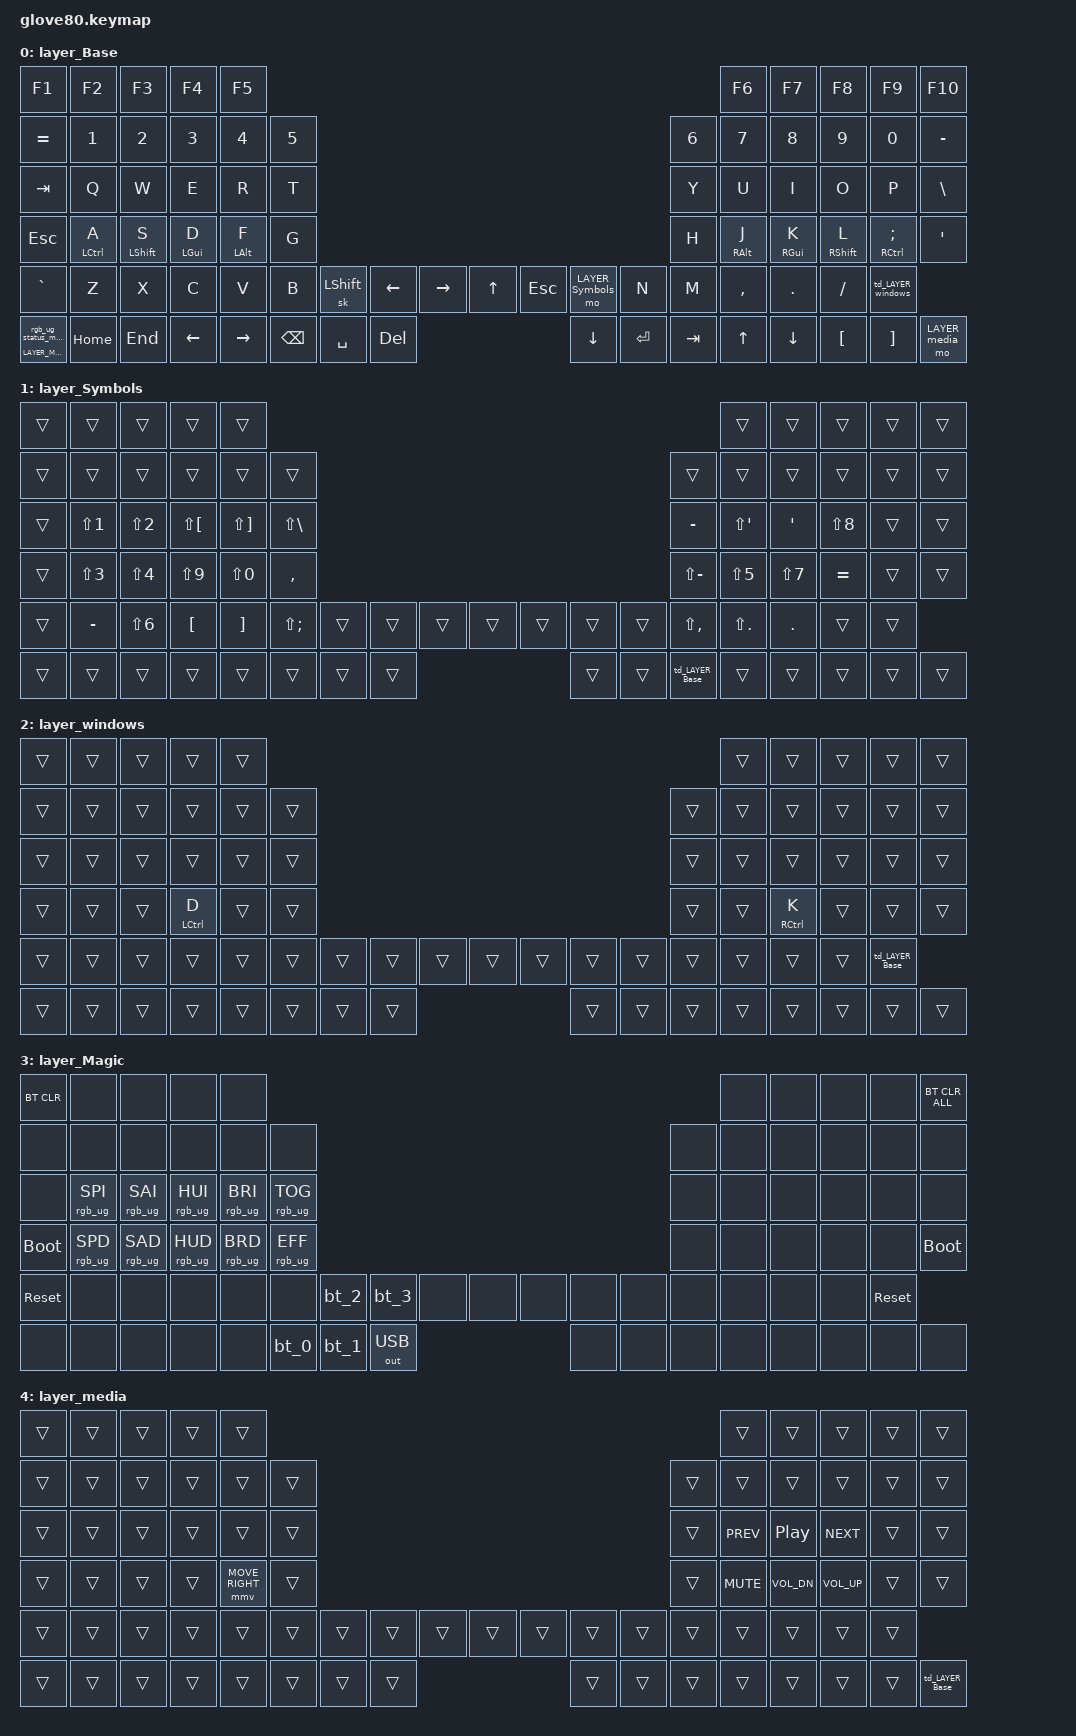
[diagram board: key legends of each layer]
/*
 * Copyright (c) 2020 The ZMK Contributors
 * Copyright (c) 2025 Innaworks Development Limited, trading as MoErgo
 *
 * SPDX-License-Identifier: MIT
 */


/* THIS FILE WAS GENERATED BY GLOVE80 LAYOUT EDITOR
 *
 * This file was generated automatically. You may or may not want to
 * edit it directly.
 */

#include <behaviors.dtsi>
/* Include all behavior includes needed */
#include <dt-bindings/zmk/outputs.h>
#include <dt-bindings/zmk/keys.h>
#include <dt-bindings/zmk/bt.h>
#include <dt-bindings/zmk/rgb.h>
#include <dt-bindings/zmk/rgb_colors.h>

/* On demand includes */
#include <dt-bindings/zmk/pointing.h>

/* Helper Macros, based on https://github.com/urob/zmk-helpers/ */

#pragma once

#define ZMK_HELPER_STRINGIFY(x) #x

// Preprocessor mechanism to overload macros, cf. https://stackoverflow.com/a/27051616/6114651
#define VARGS_(_10, _9, _8, _7, _6, _5, _4, _3, _2, _1, N, ...) N
#define VARGS(...) VARGS_(__VA_ARGS__, 10, 9, 8, 7, 6, 5, 4, 3, 2, 1, 0)
#define CONCAT_(a, b) a##b
#define CONCAT(a, b) CONCAT_(a, b)

#define ZMK_BEHAVIOR_CORE_tap_dance  \
    compatible = "zmk,behavior-tap-dance"; \
    #binding-cells = <0>

#define ZMK_BEHAVIOR(name, type, ...) \
    name: name { \
        ZMK_BEHAVIOR_CORE_ ## type; \
        __VA_ARGS__ \
    };

#define ZMK_TAP_DANCE(name, ...) \
    ZMK_BEHAVIOR(name, tap_dance, __VA_ARGS__)

#define ZMK_TD_LAYER(name, layer) \
    ZMK_TAP_DANCE(name, \
        tapping-term-ms = <200>; \
        bindings = <&mo layer>, <&to layer>; \
)

/* Environment and metadata defines */
#define KB_TYPE_GLOVE_80 1
#define KB_TYPE_GO_60    2

#define KB_TYPE          KB_TYPE_GLOVE_80
#define EDITOR_HOST_OS   'M'

/* Automatically generated layer name defines */
#define LAYER_Base 0
#define LAYER_Symbols 1
#define LAYER_windows 2
#define LAYER_Magic 3
#define LAYER_media 4

/* To deal with the situation where there is no Lower layer, to keep &lower happy */
#ifndef LAYER_Lower
#define LAYER_Lower 0
#endif

/* Custom Device-tree */
/ {
    underglow-layer {
        compatible = "zmk,underglow-layer";
        base {
            bindings = <
                &ug 0xFF0000 &ug 0xFF1300 &ug 0xFF2600 &ug 0xFF3900 &ug 0xFF4C00 &ug 0xFF5F00 &ug 0xFF7200 &ug 0xFF8500 &ug 0xFF9900 &ug 0xFFAC00
                &ug 0xFFBF00 &ug 0xFFD200 &ug 0xFFE500 &ug 0xFFF800 &ug 0xF2FF00 &ug 0xDFFF00 &ug 0xCBFF00 &ug 0xB8FF00 &ug 0xA5FF00 &ug 0x92FF00
                &ug 0x7FFF00 &ug 0x6CFF00 &ug 0x59FF00 &ug 0x46FF00 &ug 0x33FF00 &ug 0x1FFF00 &ug 0x0CFF00 &ug 0x00FF06 &ug 0x00FF19 &ug 0x00FF2C
                &ug 0x00FF3F &ug 0x00FF52 &ug 0x00FF66 &ug 0x00FF79 &ug 0x00FF8C &ug 0x00FF9F &ug 0x00FFB2 &ug 0x00FFC5 &ug 0x00FFD8 &ug 0x00FFEB
                &ug 0x00FFFF &ug 0x00EBFF &ug 0x00D8FF &ug 0x00C5FF &ug 0x00B2FF &ug 0x009FFF &ug 0x008CFF &ug 0x0079FF &ug 0x0066FF &ug 0x0052FF
                &ug 0x003FFF &ug 0x002CFF &ug 0x0019FF &ug 0x0006FF &ug 0x0C00FF &ug 0x1F00FF &ug 0x3200FF &ug 0x4600FF &ug 0x5900FF &ug 0x6C00FF
                &ug 0x7F00FF &ug 0x9200FF &ug 0xA500FF &ug 0xB800FF &ug 0xCC00FF &ug 0xDF00FF &ug 0xF200FF &ug 0xFF00F8 &ug 0xFF00E5 &ug 0xFF00D2
                &ug 0xFF00BF &ug 0xFF00AC &ug 0xFF0098 &ug 0xFF0085 &ug 0xFF0072 &ug 0xFF005F &ug 0xFF004C &ug 0xFF0039 &ug 0xFF0026 &ug 0xFF0013
            >;
            layer-id = <LAYER_Base>;
        };
        Symbols {
            bindings = <
                &ug BLUE &ug BLUE &ug BLUE &ug BLUE &ug BLUE &ug BLUE &ug BLUE &ug BLUE &ug BLUE &ug BLUE
                &ug BLUE &ug BLUE &ug BLUE &ug BLUE &ug BLUE &ug BLUE &ug BLUE &ug BLUE &ug BLUE &ug BLUE
                &ug BLUE &ug BLUE &ug BLUE &ug BLUE &ug BLUE &ug BLUE &ug BLUE &ug BLUE &ug BLUE &ug BLUE
                &ug BLUE &ug BLUE &ug BLUE &ug BLUE &ug BLUE &ug BLUE &ug BLUE &ug BLUE &ug BLUE &ug BLUE
                &ug BLUE &ug BLUE &ug BLUE &ug BLUE &ug BLUE &ug BLUE &ug BLUE &ug BLUE &ug BLUE &ug BLUE
                &ug BLUE &ug BLUE &ug BLUE &ug BLUE &ug BLUE &ug BLUE &ug BLUE &ug BLUE &ug BLUE &ug BLUE
                &ug BLUE &ug BLUE &ug BLUE &ug BLUE &ug BLUE &ug BLUE &ug BLUE &ug BLUE &ug BLUE &ug BLUE
                &ug BLUE &ug BLUE &ug BLUE &ug BLUE &ug BLUE &ug BLUE &ug BLUE &ug BLUE &ug BLUE &ug BLUE
            >;
            layer-id = <LAYER_Symbols>;
        };
        windows {
            bindings = <
                &ug RED &ug RED &ug RED &ug RED &ug RED &ug RED &ug RED &ug RED &ug RED &ug RED
                &ug RED &ug RED &ug RED &ug RED &ug RED &ug RED &ug RED &ug RED &ug RED &ug RED
                &ug RED &ug RED &ug RED &ug RED &ug RED &ug RED &ug RED &ug RED &ug RED &ug RED
                &ug RED &ug RED &ug RED &ug RED &ug RED &ug RED &ug RED &ug RED &ug RED &ug RED
                &ug RED &ug RED &ug RED &ug RED &ug RED &ug RED &ug RED &ug RED &ug RED &ug RED
                &ug RED &ug RED &ug RED &ug RED &ug RED &ug RED &ug RED &ug RED &ug RED &ug RED
                &ug RED &ug RED &ug RED &ug RED &ug RED &ug RED &ug RED &ug RED &ug RED &ug RED
                &ug RED &ug RED &ug RED &ug RED &ug RED &ug RED &ug RED &ug RED &ug RED &ug RED
            >;
            layer-id = <LAYER_windows>;
        };
        Magic {
            bindings = <
                &ug GREEN &ug GREEN &ug GREEN &ug GREEN &ug GREEN &ug GREEN &ug GREEN &ug GREEN &ug GREEN &ug GREEN
                &ug GREEN &ug GREEN &ug GREEN &ug GREEN &ug GREEN &ug GREEN &ug GREEN &ug GREEN &ug GREEN &ug GREEN
                &ug GREEN &ug GREEN &ug GREEN &ug GREEN &ug GREEN &ug GREEN &ug GREEN &ug GREEN &ug GREEN &ug GREEN
                &ug GREEN &ug GREEN &ug GREEN &ug GREEN &ug GREEN &ug GREEN &ug GREEN &ug GREEN &ug GREEN &ug GREEN
                &ug GREEN &ug GREEN &ug GREEN &ug GREEN &ug GREEN &ug GREEN &ug GREEN &ug GREEN &ug GREEN &ug GREEN
                &ug GREEN &ug GREEN &ug GREEN &ug GREEN &ug GREEN &ug GREEN &ug GREEN &ug GREEN &ug GREEN &ug GREEN
                &ug GREEN &ug GREEN &ug GREEN &ug GREEN &ug GREEN &ug GREEN &ug GREEN &ug GREEN &ug GREEN &ug GREEN
                &ug GREEN &ug GREEN &ug GREEN &ug GREEN &ug GREEN &ug GREEN &ug GREEN &ug GREEN &ug GREEN &ug GREEN
            >;
            layer-id = <LAYER_Magic>;
        };
        media {
            bindings = <
                &ug YELLOW &ug YELLOW &ug YELLOW &ug YELLOW &ug YELLOW &ug YELLOW &ug YELLOW &ug YELLOW &ug YELLOW &ug YELLOW
                &ug YELLOW &ug YELLOW &ug YELLOW &ug YELLOW &ug YELLOW &ug YELLOW &ug YELLOW &ug YELLOW &ug YELLOW &ug YELLOW
                &ug YELLOW &ug YELLOW &ug YELLOW &ug YELLOW &ug YELLOW &ug YELLOW &ug YELLOW &ug YELLOW &ug YELLOW &ug YELLOW
                &ug YELLOW &ug YELLOW &ug YELLOW &ug YELLOW &ug YELLOW &ug YELLOW &ug YELLOW &ug YELLOW &ug YELLOW &ug YELLOW
                &ug YELLOW &ug YELLOW &ug YELLOW &ug YELLOW &ug YELLOW &ug YELLOW &ug YELLOW &ug YELLOW &ug YELLOW &ug YELLOW
                &ug YELLOW &ug YELLOW &ug YELLOW &ug YELLOW &ug YELLOW &ug YELLOW &ug YELLOW &ug YELLOW &ug YELLOW &ug YELLOW
                &ug YELLOW &ug YELLOW &ug YELLOW &ug YELLOW &ug YELLOW &ug YELLOW &ug YELLOW &ug YELLOW &ug YELLOW &ug YELLOW
                &ug YELLOW &ug YELLOW &ug YELLOW &ug YELLOW &ug YELLOW &ug YELLOW &ug YELLOW &ug YELLOW &ug YELLOW &ug YELLOW
            >;
            layer-id = <LAYER_media>;
        };
    };
};

/* Input Listeners */


/* System behavior and Macros */
/ {
    behaviors {
        ZMK_TD_LAYER(lower, LAYER_Lower)
    };
};

/ {
    macros {
        rgb_ug_status_macro: rgb_ug_status_macro {
            label = "RGB_UG_STATUS";
            compatible = "zmk,behavior-macro";
            #binding-cells = <0>;
            bindings
                = <&rgb_ug RGB_STATUS>;
        };
    };
};


/ {
#ifdef BT_DISC_CMD
    behaviors {
        bt_0: bt_0 {
            compatible = "zmk,behavior-tap-dance";
            label = "BT_0";
            #binding-cells = <0>;
            tapping-term-ms = <200>;
            bindings = <&bt_select_0>, <&bt BT_DISC 0>;
        };
        bt_1: bt_1 {
            compatible = "zmk,behavior-tap-dance";
            label = "BT_1";
            #binding-cells = <0>;
            tapping-term-ms = <200>;
            bindings = <&bt_select_1>, <&bt BT_DISC 1>;
        };
        bt_2: bt_2 {
            compatible = "zmk,behavior-tap-dance";
            label = "BT_2";
            #binding-cells = <0>;
            tapping-term-ms = <200>;
            bindings = <&bt_select_2>, <&bt BT_DISC 2>;
        };
        bt_3: bt_3 {
            compatible = "zmk,behavior-tap-dance";
            label = "BT_3";
            #binding-cells = <0>;
            tapping-term-ms = <200>;
            bindings = <&bt_select_3>, <&bt BT_DISC 3>;
        };
    };
    macros {
        bt_select_0: bt_select_0 {
            label = "BT_SELECT_0";
            compatible = "zmk,behavior-macro";
            #binding-cells = <0>;
            bindings
                = <&out OUT_BLE>,
                  <&bt BT_SEL 0>;
        };
        bt_select_1: bt_select_1 {
            label = "BT_SELECT_1";
            compatible = "zmk,behavior-macro";
            #binding-cells = <0>;
            bindings
                = <&out OUT_BLE>,
                  <&bt BT_SEL 1>;
        };
        bt_select_2: bt_select_2 {
            label = "BT_SELECT_2";
            compatible = "zmk,behavior-macro";
            #binding-cells = <0>;
            bindings
                = <&out OUT_BLE>,
                  <&bt BT_SEL 2>;
        };
        bt_select_3: bt_select_3 {
            label = "BT_SELECT_3";
            compatible = "zmk,behavior-macro";
            #binding-cells = <0>;
            bindings
                = <&out OUT_BLE>,
                  <&bt BT_SEL 3>;
        };
    };
#else
    macros {
        bt_0: bt_0 {
            label = "BT_0";
            compatible = "zmk,behavior-macro";
            #binding-cells = <0>;
            bindings
                = <&out OUT_BLE>,
                  <&bt BT_SEL 0>;
        };
        bt_1: bt_1 {
            label = "BT_1";
            compatible = "zmk,behavior-macro";
            #binding-cells = <0>;
            bindings
                = <&out OUT_BLE>,
                  <&bt BT_SEL 1>;
        };
        bt_2: bt_2 {
            label = "BT_2";
            compatible = "zmk,behavior-macro";
            #binding-cells = <0>;
            bindings
                = <&out OUT_BLE>,
                  <&bt BT_SEL 2>;
        };
        bt_3: bt_3 {
            label = "BT_3";
            compatible = "zmk,behavior-macro";
            #binding-cells = <0>;
            bindings
                = <&out OUT_BLE>,
                  <&bt BT_SEL 3>;
        };
    };
#endif
};

/ {
    behaviors {
        magic: magic {
            compatible = "zmk,behavior-hold-tap";
            label = "MAGIC_HOLD_TAP";
            #binding-cells = <2>;
            flavor = "tap-preferred";
            tapping-term-ms = <200>;
            bindings = <&mo>, <&rgb_ug_status_macro>;
        };
    };
};


/* Key positions */

#define POS_LH_C6R1 0
#define POS_LH_C5R1 1
#define POS_LH_C4R1 2
#define POS_LH_C3R1 3
#define POS_LH_C2R1 4
#define POS_RH_C2R1 5
#define POS_RH_C3R1 6
#define POS_RH_C4R1 7
#define POS_RH_C5R1 8
#define POS_RH_C6R1 9
#define POS_LH_C6R2 10
#define POS_LH_C5R2 11
#define POS_LH_C4R2 12
#define POS_LH_C3R2 13
#define POS_LH_C2R2 14
#define POS_LH_C1R2 15
#define POS_RH_C1R2 16
#define POS_RH_C2R2 17
#define POS_RH_C3R2 18
#define POS_RH_C4R2 19
#define POS_RH_C5R2 20
#define POS_RH_C6R2 21
#define POS_LH_C6R3 22
#define POS_LH_C5R3 23
#define POS_LH_C4R3 24
#define POS_LH_C3R3 25
#define POS_LH_C2R3 26
#define POS_LH_C1R3 27
#define POS_RH_C1R3 28
#define POS_RH_C2R3 29
#define POS_RH_C3R3 30
#define POS_RH_C4R3 31
#define POS_RH_C5R3 32
#define POS_RH_C6R3 33
#define POS_LH_C6R4 34
#define POS_LH_C5R4 35
#define POS_LH_C4R4 36
#define POS_LH_C3R4 37
#define POS_LH_C2R4 38
#define POS_LH_C1R4 39
#define POS_RH_C1R4 40
#define POS_RH_C2R4 41
#define POS_RH_C3R4 42
#define POS_RH_C4R4 43
#define POS_RH_C5R4 44
#define POS_RH_C6R4 45
#define POS_LH_C6R5 46
#define POS_LH_C5R5 47
#define POS_LH_C4R5 48
#define POS_LH_C3R5 49
#define POS_LH_C2R5 50
#define POS_LH_C1R5 51
#define POS_LH_T1 52
#define POS_LH_T2 53
#define POS_LH_T3 54
#define POS_RH_T3 55
#define POS_RH_T2 56
#define POS_RH_T1 57
#define POS_RH_C1R5 58
#define POS_RH_C2R5 59
#define POS_RH_C3R5 60
#define POS_RH_C4R5 61
#define POS_RH_C5R5 62
#define POS_RH_C6R5 63
#define POS_LH_C6R6 64
#define POS_LH_C5R6 65
#define POS_LH_C4R6 66
#define POS_LH_C3R6 67
#define POS_LH_C2R6 68
#define POS_LH_T4 69
#define POS_LH_T5 70
#define POS_LH_T6 71
#define POS_RH_T6 72
#define POS_RH_T5 73
#define POS_RH_T4 74
#define POS_RH_C2R6 75
#define POS_RH_C3R6 76
#define POS_RH_C4R6 77
#define POS_RH_C5R6 78
#define POS_RH_C6R6 79


/* Custom Defined Behaviors */
/* Home-row mod tuning: positional + prior-idle to stop misfires while typing */
#define KEYS_L 0 1 2 3 4 10 11 12 13 14 15 22 23 24 25 26 27 34 35 36 37 38 39 46 47 48 49 50 51 64 65 66 67 68
#define KEYS_R 5 6 7 8 9 16 17 18 19 20 21 28 29 30 31 32 33 40 41 42 43 44 45 58 59 60 61 62 63 75 76 77 78 79
#define THUMBS 52 53 54 55 56 57 69 70 71 72 73 74

/ {
    behaviors {
        hml: home_row_mod_left {
            compatible = "zmk,behavior-hold-tap";
            label = "HOME_ROW_MOD_LEFT";
            #binding-cells = <2>;
            flavor = "balanced";
            tapping-term-ms = <200>;
            quick-tap-ms = <175>;
            require-prior-idle-ms = <150>;
            hold-trigger-key-positions = <KEYS_R THUMBS>;
            hold-trigger-on-release;
            bindings = <&kp>, <&kp>;
        };
        hmr: home_row_mod_right {
            compatible = "zmk,behavior-hold-tap";
            label = "HOME_ROW_MOD_RIGHT";
            #binding-cells = <2>;
            flavor = "balanced";
            tapping-term-ms = <200>;
            quick-tap-ms = <175>;
            require-prior-idle-ms = <150>;
            hold-trigger-key-positions = <KEYS_L THUMBS>;
            hold-trigger-on-release;
            bindings = <&kp>, <&kp>;
        };
    };
};

/* Generated input processors */


/* Automatically generated macro definitions */
/ {
    macros {

    };
};

/* Automatically generated behavior definitions */
/ {
    behaviors {

        // Layer tap dance behaviors

        ZMK_TD_LAYER(td_LAYER_Base, 0)
        ZMK_TD_LAYER(td_LAYER_windows, 2)

    };
};

/* Automatically generated combos definitions */


/* Automatically generated keymap */
/ {
    keymap {
        compatible = "zmk,keymap";


        layer_Base {
            bindings = <
               &kp F1       &kp F2       &kp F3      &kp F4      &kp F5                                                                                             &kp F6      &kp F7       &kp F8          &kp F9            &kp F10
            &kp EQUAL       &kp N1       &kp N2      &kp N3      &kp N4  &kp N5                                                                         &kp N6      &kp N7      &kp N8       &kp N9          &kp N0          &kp MINUS
              &kp TAB        &kp Q        &kp W       &kp E       &kp R   &kp T                                                                          &kp Y       &kp U       &kp I        &kp O           &kp P           &kp BSLH
              &kp ESC  &hml LCTRL A  &hml LSHFT S  &hml LGUI D  &hml LALT F   &kp G                                                                          &kp H  &hmr RALT J  &hmr RGUI K  &hmr RSHFT L  &hmr RCTRL SEMI            &kp SQT
            &kp GRAVE        &kp Z        &kp X       &kp C       &kp V   &kp B  &sk LSHFT   &kp LEFT  &kp RIGHT    &kp UP  &kp ESC  &mo LAYER_Symbols   &kp N       &kp M   &kp COMMA      &kp DOT        &kp FSLH  &td_LAYER_windows
 &magic LAYER_Magic 0     &kp HOME      &kp END    &kp LEFT   &kp RIGHT           &kp BSPC  &kp SPACE    &kp DEL  &kp DOWN  &kp RET            &kp TAB              &kp UP    &kp DOWN     &kp LBKT        &kp RBKT    &mo LAYER_media
            >;
        };

        layer_Symbols {
            bindings = <
 &trans      &trans      &trans        &trans        &trans                                                                                              &trans       &trans      &trans  &trans  &trans
 &trans      &trans      &trans        &trans        &trans        &trans                                                                 &trans         &trans       &trans      &trans  &trans  &trans
 &trans  &kp LS(N1)  &kp LS(N2)  &kp LS(LBKT)  &kp LS(RBKT)  &kp LS(BSLH)                                                              &kp MINUS    &kp LS(SQT)      &kp SQT  &kp LS(N8)  &trans  &trans
 &trans  &kp LS(N3)  &kp LS(N4)    &kp LS(N9)    &kp LS(N0)     &kp COMMA                                                          &kp LS(MINUS)     &kp LS(N5)   &kp LS(N7)   &kp EQUAL  &trans  &trans
 &trans   &kp MINUS  &kp LS(N6)      &kp LBKT      &kp RBKT  &kp LS(SEMI)  &trans  &trans  &trans  &trans  &trans          &trans         &trans  &kp LS(COMMA)  &kp LS(DOT)     &kp DOT  &trans  &trans
 &trans      &trans      &trans        &trans        &trans                &trans  &trans  &trans  &trans  &trans  &td_LAYER_Base                        &trans       &trans      &trans  &trans  &trans
            >;
        };

        layer_windows {
            bindings = <
 &trans  &trans  &trans       &trans  &trans                                                                  &trans       &trans  &trans  &trans          &trans
 &trans  &trans  &trans       &trans  &trans  &trans                                                  &trans  &trans       &trans  &trans  &trans          &trans
 &trans  &trans  &trans       &trans  &trans  &trans                                                  &trans  &trans       &trans  &trans  &trans          &trans
 &trans  &trans  &trans  &hml LCTRL D  &trans  &trans                                                  &trans  &trans  &hmr RCTRL K  &trans  &trans          &trans
 &trans  &trans  &trans       &trans  &trans  &trans  &trans  &trans  &trans  &trans  &trans  &trans  &trans  &trans       &trans  &trans  &trans  &td_LAYER_Base
 &trans  &trans  &trans       &trans  &trans          &trans  &trans  &trans  &trans  &trans  &trans          &trans       &trans  &trans  &trans          &trans
            >;
        };

        layer_Magic {
            bindings = <
  &bt BT_CLR            &none            &none            &none            &none                                                                                  &none   &none   &none   &none  &bt BT_CLR_ALL
       &none            &none            &none            &none            &none            &none                                                         &none   &none   &none   &none   &none           &none
       &none  &rgb_ug RGB_SPI  &rgb_ug RGB_SAI  &rgb_ug RGB_HUI  &rgb_ug RGB_BRI  &rgb_ug RGB_TOG                                                         &none   &none   &none   &none   &none           &none
 &bootloader  &rgb_ug RGB_SPD  &rgb_ug RGB_SAD  &rgb_ug RGB_HUD  &rgb_ug RGB_BRD  &rgb_ug RGB_EFF                                                         &none   &none   &none   &none   &none     &bootloader
  &sys_reset            &none            &none            &none            &none            &none   &bt_2   &bt_3         &none   &none   &none   &none   &none   &none   &none   &none   &none      &sys_reset
       &none            &none            &none            &none            &none                    &bt_0   &bt_1  &out OUT_USB   &none   &none   &none           &none   &none   &none   &none           &none
            >;
        };

        layer_media {
            bindings = <
 &trans  &trans  &trans  &trans           &trans                                                                      &trans        &trans        &trans  &trans          &trans
 &trans  &trans  &trans  &trans           &trans  &trans                                                  &trans      &trans        &trans        &trans  &trans          &trans
 &trans  &trans  &trans  &trans           &trans  &trans                                                  &trans  &kp C_PREV      &kp C_PP    &kp C_NEXT  &trans          &trans
 &trans  &trans  &trans  &trans  &mmv MOVE_RIGHT  &trans                                                  &trans  &kp C_MUTE  &kp C_VOL_DN  &kp C_VOL_UP  &trans          &trans
 &trans  &trans  &trans  &trans           &trans  &trans  &trans  &trans  &trans  &trans  &trans  &trans  &trans      &trans        &trans        &trans  &trans          &trans
 &trans  &trans  &trans  &trans           &trans          &trans  &trans  &trans  &trans  &trans  &trans              &trans        &trans        &trans  &trans  &td_LAYER_Base
            >;
        };

    };
};
